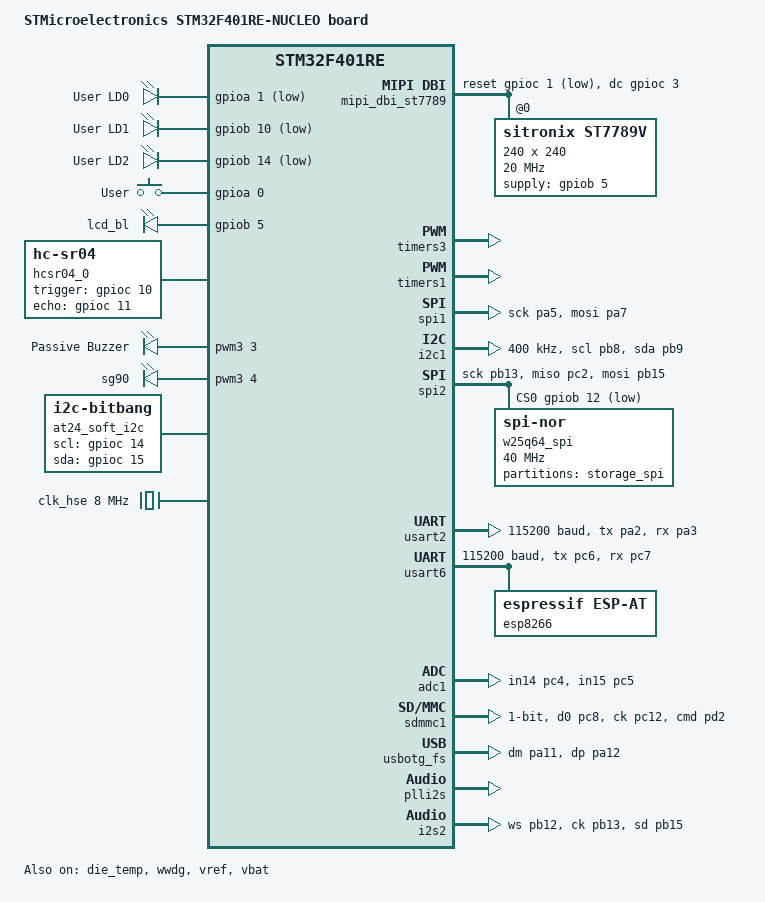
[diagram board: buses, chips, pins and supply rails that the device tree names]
/*
 * Copyright (c) 2017 Linaro Limited
 * Copyright (c) 2019 Centaur Analytics, Inc
 *
 * SPDX-License-Identifier: Apache-2.0
 */

/dts-v1/;
#include <st/f4/stm32f401Xe.dtsi>
#include <st/f4/stm32f401r(d-e)tx-pinctrl.dtsi>
#include "arduino_r3_connector.dtsi"
#include "st_morpho_connector.dtsi"
#include <zephyr/dt-bindings/input/input-event-codes.h>
#include <zephyr/dt-bindings/mipi_dbi/mipi_dbi.h>
#include <zephyr/dt-bindings/led/led.h>
#include <zephyr/dt-bindings/pwm/pwm.h>
#include <zephyr/dt-bindings/input/input-event-codes.h>

/ {
	model = "STMicroelectronics STM32F401RE-NUCLEO board";
	compatible = "st,stm32f401re-nucleo";

	chosen {
		zephyr,console = &usart2;
		zephyr,shell-uart = &usart2;
		zephyr,sram = &sram0;
		zephyr,flash = &flash0;
		zephyr,code-partition = &slot0_partition;
		zephyr,display = &st7789v;
	};

	leds: leds {
		compatible = "gpio-leds";

		red_led: led_0 {
			gpios = <&gpioa 1 GPIO_ACTIVE_LOW>;
			label = "User LD0";
		};

		green_led: led_1 {
			gpios = <&gpiob 10 GPIO_ACTIVE_LOW>;
			label = "User LD1";
		};

		blue_led: led_2 {
			gpios = <&gpiob 14 GPIO_ACTIVE_LOW>;
			label = "User LD2";
		};
	};

	gpio_keys {
		compatible = "gpio-keys";

			user_button: button {
				label = "User";
				gpios = <&gpioa 0 (GPIO_PULL_DOWN | GPIO_ACTIVE_HIGH)>;
				zephyr,code = <INPUT_KEY_0>;
			};
	};

	aliases {
		led0 = &red_led;
		led1 = &green_led;
		led2 = &blue_led;
		sw0 = &user_button;
		watchdog0 = &wwdg;
		die-temp0 = &die_temp;
		volt-sensor0 = &vref;
		volt-sensor1 = &vbat;
		bl0 = &lcd_bl;
		sdhc0 = &sdmmc1;
		i2s-tx = &i2s2;  
		hcsr04 = &hcsr04_0;
		buzzer0 = &buzzer_pwm;
		servo0 = &sg90_pwm;
		wifi0 = &esp8266;
	};

 	backlight {
        	compatible = "gpio-leds";
        	status = "okay";

        	lcd_bl: lcd_bl {
           		gpios = <&gpiob 5 GPIO_ACTIVE_HIGH>;
            		label = "lcd_bl";
        	};
    	};

  	mipi_dbi_st7789 {
        	compatible = "zephyr,mipi-dbi-spi";
       		status = "okay";
        	dc-gpios    = <&gpioc 3 GPIO_ACTIVE_HIGH>;
        	reset-gpios = <&gpioc 1 GPIO_ACTIVE_LOW>;
        	spi-dev = <&spi1>;
        	write-only;
        	#address-cells = <1>;
        	#size-cells = <0>;

        	st7789v: st7789v@0 {
        		compatible = "sitronix,st7789v";
        		status = "okay";
        		reg = <0>;
        		mipi-max-frequency = <20000000>;
        		width  = <240>;
        		height = <240>;
        		x-offset = <0>;
        		y-offset = <0>;
			/* 背光 / 供电开关脚，使用samples/drivers/display示例不受控 */
    			supply-gpios = <&gpiob 5 GPIO_ACTIVE_HIGH>;
        		vcom  = <0x19>;
        		gctrl = <0x35>;
        		vrhs  = <0x12>;
        		vdvs  = <0x20>;
        		mdac  = <0x00>;
        		gamma = <0x01>;
        		colmod = <0x55>;     /* 16-bit RGB565 */
        		lcm   = <0x2c>;
        		porch-param   = [0c 0c 00 33 33];
        		cmd2en-param  = [5a 69 02 01];
        		pwctrl1-param = [a4 a1];
        		pvgam-param   = [d0 04 0d 11 13 2b 3f 54 4c 18 0d 0b 1f 23];
        		nvgam-param   = [d0 04 0c 11 13 2c 3f 44 51 2f 1f 1f 20 23];
        		ram-param     = [00 f0];
        		rgb-param     = [cd 08 14];

        		mipi-mode = "MIPI_DBI_MODE_SPI_4WIRE";
    		};
    	};

	hcsr04_0: hcsr04 {
        	compatible = "hc-sr04";
       		trigger-gpios = <&gpioc 10 GPIO_ACTIVE_HIGH>;  /* TRIG 输出脚 */
        	echo-gpios    = <&gpioc 11 (GPIO_ACTIVE_HIGH | GPIO_PULL_DOWN)>;  /* ECHO 输入脚 */
        	status = "okay";
    	};

	pwmleds {
        	compatible = "pwm-leds";

       		buzzer_pwm: buzzer_pwm {
            	/* TIM3_CH3 => channel 3；2.7kHz => PWM_HZ(2700) */
            		pwms = <&pwm3 3 PWM_HZ(2700) PWM_POLARITY_NORMAL>;
            		label = "Passive Buzzer";
        	};

		sg90_pwm: sg90_pwm {
        		/* 50Hz = 20ms 周期；通道 4 */
        		pwms = <&pwm3 4 PWM_HZ(50) PWM_POLARITY_NORMAL>;
			label = "sg90";
   	 	};
    	};

    	at24_soft_i2c:at24_soft_i2c {
		compatible = "zephyr,i2c-bitbang";
		status = "okay";
		scl-gpios = <&gpioc 14 GPIO_ACTIVE_HIGH>;
		sda-gpios = <&gpioc 15 GPIO_ACTIVE_HIGH>;
	};
};


&timers3 {
	status = "okay";
    	st,prescaler = <83>;    /* 84MHz/(83+1)=1MHz */

    	pwm3: pwm {
        	status = "okay";
        	pinctrl-0 = <&tim3_ch3_pb0 &tim3_ch4_pc9>;
        	pinctrl-names = "default";
		label = "pb0_buzzer_pc9_sg90";
    	};
};

&timers1 {
    	status = "okay";
    	st,prescaler = <0>;    /* 84MHz 不分频 */

    	pwm1: pwm {
        	status = "okay";
        	pinctrl-0 = <&tim1_ch3n_pb1>;
        	pinctrl-names = "default";
		label = "pb1_ws2812b";
    	};
};

&spi1 {
    	status = "okay";
    	pinctrl-0 = <&spi1_sck_pa5 &spi1_mosi_pa7>;
    	pinctrl-names = "default";
    	cs-gpios = <&gpioa 4 GPIO_ACTIVE_LOW>;
	label = "st7789v_spi";
};

&i2c1 {
	pinctrl-0 = <&i2c1_scl_pb8 &i2c1_sda_pb9>;
	pinctrl-names = "default";
	status = "okay";
	clock-frequency = <I2C_BITRATE_FAST>;
	label = "aht30";
};

&spi2 {
	pinctrl-0 = <&spi2_sck_pb13 &spi2_miso_pc2 &spi2_mosi_pb15>;
	cs-gpios = <&gpiob 12 GPIO_ACTIVE_LOW>;
	pinctrl-names = "default";
	status = "okay";

	w25q64_spi: spi-nor-flash@0 {
		compatible = "jedec,spi-nor";
		reg = <0>;
		spi-max-frequency = <40000000>;
		size = <DT_SIZE_M(64)>; /* 64Mbit */
		status = "okay";
		jedec-id = [ef 40 17];
		has-dpd;
		t-enter-dpd = <3500>;
		t-exit-dpd = <3500>;

		partitions {
			compatible = "fixed-partitions";
			#address-cells = <1>;
			#size-cells = <1>;

			spi_storage_partition: partition@0 {
				label = "storage_spi";
				reg = <0x00000000 DT_SIZE_M(8)>; /* 8MB */
			};
		};
	};
};

&clk_hse {
	clock-frequency = <DT_FREQ_M(8)>; /* STLink 8MHz clock */
	status = "okay";
};

&pll {
	div-m = <4>;
	mul-n = <168>;
	div-p = <4>;
	div-q = <7>;
	clocks = <&clk_hse>;
	status = "okay";
};

&rcc {
	clocks = <&pll>;
	clock-frequency = <DT_FREQ_M(84)>;
	ahb-prescaler = <1>;
	apb1-prescaler = <2>;
	apb2-prescaler = <1>;
};

&usart2 {
	pinctrl-0 = <&usart2_tx_pa2 &usart2_rx_pa3>;
	pinctrl-names = "default";
	current-speed = <115200>;
	status = "okay";
	label = "debug_uart";
};

&usart6 {
	status = "okay";
	current-speed = <115200>;
	pinctrl-0 = <&usart6_tx_pc6 &usart6_rx_pc7>;
	pinctrl-names = "default";

	esp8266: wifi {
		compatible = "espressif,esp-at";
		status = "okay";
	};
};


&flash0 {
	partitions {
		compatible = "fixed-partitions";
		#address-cells = <1>;
		#size-cells = <1>;

		boot_partition: partition@0 {
			label = "mcuboot";
			reg = <0x00000000 DT_SIZE_K(64)>;
			read-only;
		};

		slot0_partition: partition@20000 {
			label = "image-0";
			reg = <0x00020000 DT_SIZE_K(128)>;
		};

		slot1_partition: partition@40000 {
			label = "image-1";
			reg = <0x00040000 DT_SIZE_K(128)>;
		};

		scratch_partition: partition@60000 {
			label = "image-scratch";
			reg = <0x00060000 DT_SIZE_K(128)>;
		};
	};
};

&adc1 {
	status = "okay";
	pinctrl-0 = <&adc1_in14_pc4 &adc1_in15_pc5>;
	pinctrl-names = "default";
	st,adc-clock-source = "SYNC";
	st,adc-prescaler = <2>;
	label = "adc1_joystick";
};

&die_temp {
	status = "okay";
};

&wwdg {
	status = "okay";
};

&vref {
	status = "okay";
};

&vbat {
	status = "okay";
};

&sdmmc1 {
	status = "okay";
	pinctrl-names = "default";
	pinctrl-0 = <&sdio_d0_pc8 &sdio_ck_pc12 &sdio_cmd_pd2>;
	bus-width = <1>;
	cd-gpios = <&gpioc 0 (GPIO_ACTIVE_LOW|GPIO_PULL_UP)>;
	disk-name = "SD";
	resets;
	clk-div = <4>;
};

zephyr_udc0: &usbotg_fs {
	pinctrl-0 = <&usb_otg_fs_dm_pa11 &usb_otg_fs_dp_pa12>;
	pinctrl-names = "default";
	status = "okay";

	cdc_acm_uart0 {
		compatible = "zephyr,cdc-acm-uart";
		label = "Zephyr USB CDC-ACM";
	};
};

&plli2s {
        div-m = <4>;
        mul-n = <128>;
        div-r = <5>;
	// mul-n = <50>;
        // div-r = <4>;
        clocks = <&clk_hse>;
        status = "okay";
};

&i2s2 {
        pinctrl-0 = <&i2s2_ws_pb12 &i2s2_ck_pb13 &i2s2_sd_pb15>;
        pinctrl-names = "default";
        status = "okay";
};

&dma1 {
    status = "okay";
};

&dma2 {
    status = "okay";
};

